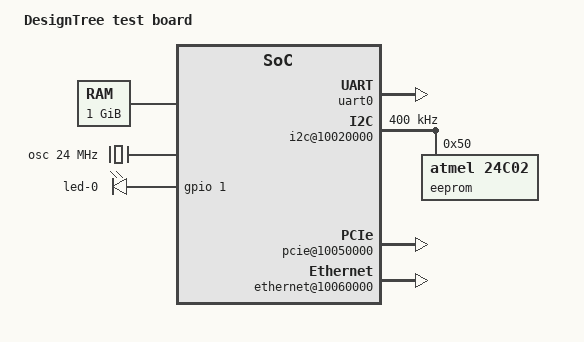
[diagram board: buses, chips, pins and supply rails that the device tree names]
// SPDX-License-Identifier: MIT
/*
 * Test board exercising the devicetree syntax the importer supports.
 * Written in kernel style, already preprocessed (no #include).
 */

/dts-v1/;

/ {
	#address-cells = <1>;
	#size-cells = <1>;
	model = "DesignTree test board";
	compatible = "designtree,test-board", "designtree,test-soc";
	interrupt-parent = <&intc>;

	aliases {
		serial0 = &uart0;
		i2c0 = &{/soc/i2c@10020000};
	};

	chosen {
		stdout-path = "serial0:115200n8";
		bootargs = "console=ttyS0 \"quoted\"\tend";
	};

	cpus {
		#address-cells = <1>;
		#size-cells = <0>;

		cpu0: cpu@0 {
			device_type = "cpu";
			compatible = "arm,cortex-a53";
			reg = <0>;
			clocks = <&clk 0>;
			operating-points-v2 = <&cpu_opp>;
		};
	};

	cpu_opp: opp-table {
		compatible = "operating-points-v2";
		opp-shared;

		opp-1200000000 {
			opp-hz = /bits/ 64 <1200000000>;
			opp-microvolt = <(1000 * 1000) 950000 1100000>;
		};
	};

	memory@80000000 {
		device_type = "memory";
		reg = <0x80000000 0x40000000>;
	};

	osc: oscillator {
		compatible = "fixed-clock";
		#clock-cells = <0>;
		clock-frequency = <24000000>;
	};

	soc {
		compatible = "simple-bus";
		#address-cells = <1>;
		#size-cells = <1>;
		ranges;

		intc: interrupt-controller@10000000 {
			compatible = "arm,gic-400";
			reg = <0x10000000 0x1000>, <0x10002000 0x2000>;
			#interrupt-cells = <3>;
			interrupt-controller;
		};

		clk: clock-controller@10010000 {
			compatible = "designtree,ccu";
			reg = <0x10010000 0x1000>;
			clocks = <&osc>;
			clock-names = "osc";
			#clock-cells = <1>;
			#reset-cells = <1>;
		};

		gpio: gpio@10030000 {
			compatible = "designtree,gpio";
			reg = <0x10030000 0x400>;
			gpio-controller;
			#gpio-cells = <2>;
			gpio-line-names = "", "led", "button";
		};

		uart0: serial@10040000 {
			compatible = "ns16550a";
			reg = <0x10040000 0x100>;
			interrupts = <0 32 4>;
			clocks = <&clk 3 &clk 4>;
			clock-names = "baud", "apb";
			resets = <&clk 1>;
			status = "disabled";
		};

		i2c@10020000 {
			compatible = "designtree,i2c";
			reg = <0x10020000 0x1000>;
			#address-cells = <1>;
			#size-cells = <0>;
			clocks = <&clk 5>;
			status = "disabled";

			eeprom@50 {
				compatible = "atmel,24c02";
				reg = <0x50>;
				pagesize = /bits/ 16 <8>;
			};

			obsolete@60 {
				compatible = "vendor,old";
				reg = <0x60>;
			};
		};

		pcie@10050000 {
			compatible = "designtree,pcie";
			reg = <0x10050000 0x1000>;
			#interrupt-cells = <1>;
			interrupt-map-mask = <0 0 0 7>;
			interrupt-map = <0 0 0 1 &intc 0 100 4>,
					<0 0 0 2 &intc 0 101 4>;
		};

		ethernet@10060000 {
			compatible = "designtree,eth";
			reg = <0x10060000 0x1000>;
			local-mac-address = [02 00 00 12 34 56];
			label = "eth", <1>;
		};
	};

	leds {
		compatible = "gpio-leds";

		led-0 {
			gpios = <&gpio 1 0>;
			linux,default-trigger = "heartbeat";
		};
	};

	unwanted {
		compatible = "vendor,unwanted";
	};
};

&uart0 {
	status = "okay";
};

&{/soc/i2c@10020000} {
	status = "okay";
	clock-frequency = <400000>;
	/delete-node/ obsolete@60;
};

&clk {
	assigned-clocks = <&clk 3>;
	assigned-clock-rates = <48000000>;
	/delete-property/ clock-names;
};

/delete-node/ &{/unwanted};
